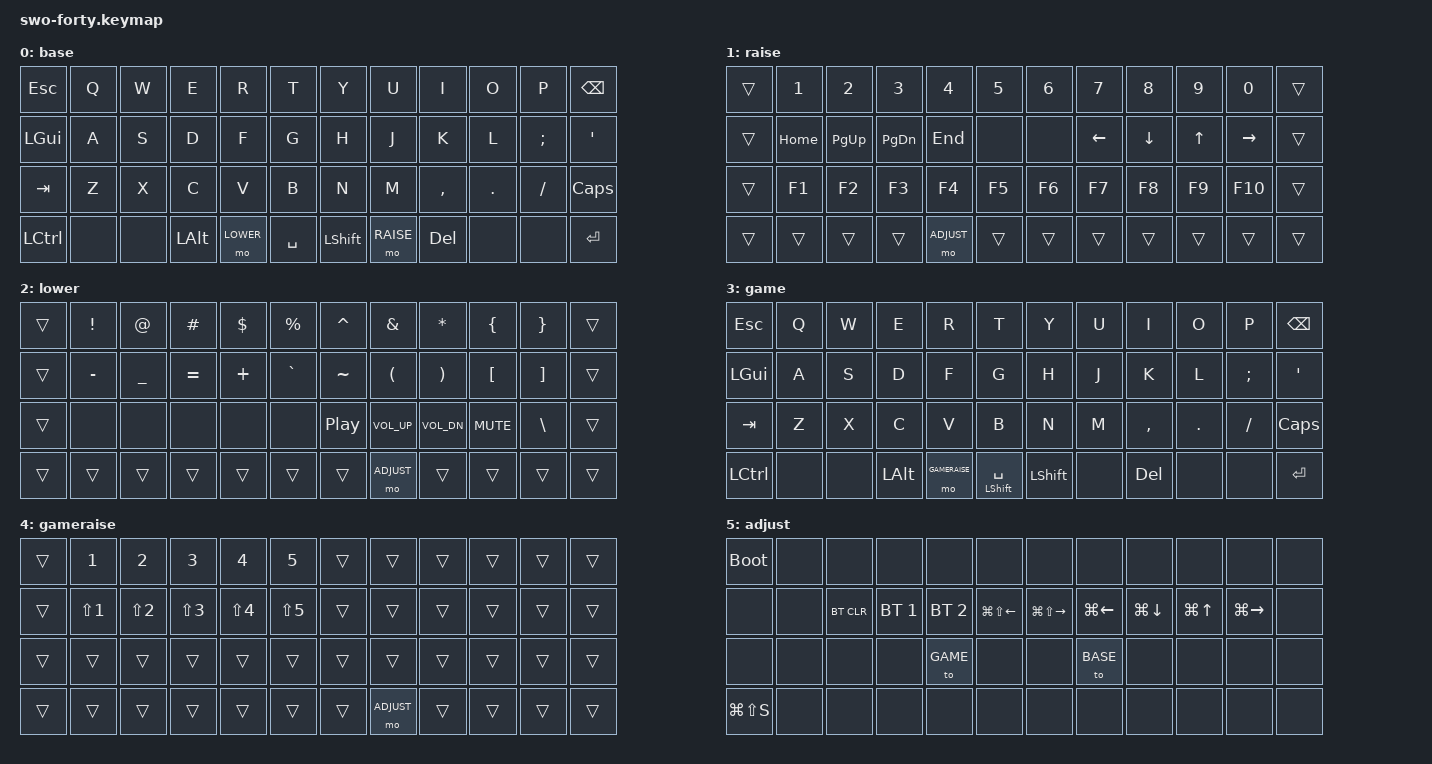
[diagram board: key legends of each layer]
/*
 * Copyright (c) 2021 The ZMK Contributors
 *
 * SPDX-License-Identifier: MIT
 */

#include <behaviors.dtsi>
#include <dt-bindings/zmk/outputs.h>
#include <dt-bindings/zmk/rgb.h>
#include <dt-bindings/zmk/keys.h>
#include <dt-bindings/zmk/bt.h>

//Layer definitions
#define BASE 0
#define RAISE 1
#define LOWER 2
#define GAME 3
#define GAMERAISE 4
#define ADJUST 5

/ {
    keymap {
        compatible = "zmk,keymap";

        base {
// -------------------------------------   -------------------------------------
// | ESC |  Q  |  W  |  E  |  R  |  T  |   |  Y  |  U  |  I  |  O  |  P  | BSPC|
// | LGUI|  A  |  S  |  D  |  F  |  G  |   |  H  |  J  |  K  |  L  |  ;  |  '  |
// | TAB |  Z  |  X  |  C  |  V  |  B  |   |  N  |  M  |  ,  |  .  |  /  | CAPS|
// |LCTRL| XXX | XXX | LALT|LOWER|SPACE|   |LSHFT|RAISE| DEL | XXX | XXX |ENTER|
// -------------------------------------   -------------------------------------
            bindings = <
    &kp ESC     &kp Q   &kp W   &kp E       &kp R       &kp T       /**/    &kp Y       &kp U       &kp I       &kp O   &kp P       &kp BSPC  
    &kp LGUI    &kp A   &kp S   &kp D       &kp F       &kp G       /**/    &kp H       &kp J       &kp K       &kp L   &kp SEMI    &kp SQT   
    &kp TAB     &kp Z   &kp X   &kp C       &kp V       &kp B       /**/    &kp N       &kp M       &kp COMMA   &kp DOT &kp FSLH    &kp CAPS
    &kp LCTRL   &none   &none   &kp LALT    &mo LOWER   &kp SPACE   /**/    &kp LSHFT   &mo RAISE   &kp DEL     &none   &none       &kp ENTER
            >;
        };

        raise {
// -------------------------------------   -------------------------------------
// |     |  1  |  2  |  3  |  4  |  5  |   |  6  |  7  |  8  |  9  |  0  |     |
// |     | HOME| PGUP| PGDN| END | XXX |   | XXX | LEFT| DOWN|  UP |RIGHT|     |
// |     |  F1 |  F2 |  F3 |  F4 |  F5 |   |  F6 |  F7 |  F8 |  F9 | F10 |     |
// |     |     |     |     |     |     |   |     | ADJ |     |     |     |     |
// -------------------------------------   -------------------------------------
            bindings = <
    &trans  &kp N1      &kp N2      &kp N3      &kp N4      &kp N5  /**/    &kp N6  &kp N7      &kp N8      &kp N9  &kp N0      &trans  
    &trans  &kp HOME    &kp PG_UP   &kp PG_DN   &kp END     &none   /**/    &none   &kp LEFT    &kp DOWN    &kp UP  &kp RIGHT   &trans
    &trans  &kp F1      &kp F2      &kp F3      &kp F4      &kp F5  /**/    &kp F6  &kp F7      &kp F8      &kp F9  &kp F10     &trans
    &trans  &trans      &trans      &trans      &mo ADJUST  &trans  /**/    &trans  &trans      &trans      &trans  &trans      &trans
            >;
        };

        lower {
// -------------------------------------   -------------------------------------
// |     |  !  |  @  |  #  |  $  |  %  |   |  ^  |  &  |  *  |  {  |  }  |     |
// |     |  -  |  _  |  =  |  +  |  `  |   |  ~  |  (  |  )  |  [  |  ]  |  \  |
// |     | XXX | XXX | XXX | XXX | XXX |   | PLAY| VOL+| VOL-| MUTE| XXX |     |
// |     |     |     |     | ADJ |     |   |     |     |     |     |     |     |
// -------------------------------------   -------------------------------------
            bindings = <
    &trans   &kp EXCL   &kp AT      &kp HASH    &kp DOLLAR  &kp PERCENT /**/    &kp CARET           &kp AMPS        &kp STAR        &kp LBRC    &kp RBRC    &trans  
    &trans   &kp MINUS  &kp UNDER   &kp EQUAL   &kp PLUS    &kp GRAVE   /**/    &kp TILDE           &kp LPAR        &kp RPAR        &kp LBKT    &kp RBKT    &trans
    &trans   &none      &none       &none       &none       &none       /**/    &kp C_PLAY_PAUSE    &kp C_VOL_UP    &kp C_VOL_DN    &kp C_MUTE  &kp BSLH    &trans
    &trans   &trans     &trans      &trans      &trans      &trans      /**/    &trans              &mo ADJUST      &trans          &trans      &trans      &trans
            >;
        };

        game {
// -------------------------------------   -------------------------------------
// | ESC |  Q  |  W  |  E  |  R  |  T  |   |  Y  |  U  |  I  |  O  |  P  | BSPC|
// | LGUI|  A  |  S  |  D  |  F  |  G  |   |  H  |  J  |  K  |  L  |  ;  |  '  |
// | TAB |  Z  |  X  |  C  |  V  |  B  |   |  N  |  M  |  ,  |  .  |  /  | CAPS|
// |LCTRL| XXX | XXX | LALT|GAMER|LSHFT|   |LSHFT| XXX | DEL | XXX | XXX |ENTER|
// -------------------------------------   -------------------------------------
            bindings = <
    &kp ESC     &kp Q   &kp W   &kp E       &kp R           &kp T           /**/    &kp Y       &kp U   &kp I       &kp O   &kp P       &kp BSPC  
    &kp LGUI    &kp A   &kp S   &kp D       &kp F           &kp G           /**/    &kp H       &kp J   &kp K       &kp L   &kp SEMI    &kp SQT   
    &kp TAB     &kp Z   &kp X   &kp C       &kp V           &kp B           /**/    &kp N       &kp M   &kp COMMA   &kp DOT &kp FSLH    &kp CAPS
    &kp LCTRL   &none   &none   &kp LALT    &mo GAMERAISE   &mt LSHFT SPACE /**/    &kp LSHFT   &none   &kp DEL     &none   &none       &kp ENTER
            >;
        };

        gameraise {
// -------------------------------------   -------------------------------------
// |     |  1  |  2  |  3  |  4  |  5  |   |     |     |     |     |     |     |
// |     |LS(1)|LS(2)|LS(3)|LS(4)|LS(5)|   |     |     |     |     |     |     |
// |     |     |     |     |     |     |   |     |     |     |     |     |     |
// |     |     |     |     |     |     |   |     | ADJ |     |     |     |     |
// -------------------------------------   -------------------------------------
            bindings = <
    &trans  &kp N1      &kp N2      &kp N3      &kp N4      &kp N5      /**/    &trans  &trans      &trans  &trans  &trans  &trans
    &trans  &kp LS(N1)  &kp LS(N2)  &kp LS(N3)  &kp LS(N4)  &kp LS(N5)  /**/    &trans  &trans      &trans  &trans  &trans  &trans
    &trans  &trans      &trans      &trans      &trans      &trans      /**/    &trans  &trans      &trans  &trans  &trans  &trans
    &trans  &trans      &trans      &trans      &trans      &trans      /**/    &trans  &mo ADJUST  &trans  &trans  &trans  &trans
            >;
        };

       adjust {
// -------------------------------------   -------------------------------------
// |RESET|     |     |     |     |     |   |     |     |     |     |     | DEL |
// |     |     |BTCLR| BT1 | BT2 |SG(L)|   |SG(R)|LG(L)|LG(D)|LG(U)|LG(R)|     |
// |     |     |     |     | GAME|     |   |     | BASE|     |     |     |     |
// |SG(S)|     |     |     |     |     |   |     |     |     |     |     |     |
// -------------------------------------   -------------------------------------
            bindings = <
    &bootloader     &none   &none       &none           &none           &none               /**/    &none               &none           &none           &none       &none           &none
    &none           &none   &bt BT_CLR  &bt BT_SEL 1    &bt BT_SEL 2    &kp LG(LS(LEFT))    /**/    &kp LG(LS(RIGHT))   &kp LG(LEFT)    &kp LG(DOWN)    &kp LG(UP)  &kp LG(RIGHT)   &none
    &none           &none   &none       &none           &to GAME        &none               /**/    &none               &to BASE        &none           &none       &none           &none
    &kp LG(LS(S))   &none   &none       &none           &none           &none               /**/    &none               &none           &none           &none       &none           &none
            >;
        }; 
    };
};
